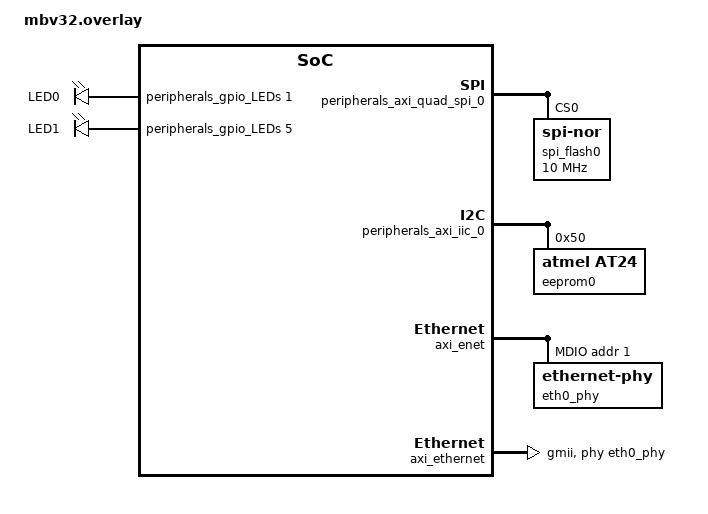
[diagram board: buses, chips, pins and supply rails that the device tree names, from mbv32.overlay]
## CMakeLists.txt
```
# Copyright (c) 2026 Marco Höfle, Avnet-Silica
#
# Permission is hereby granted, free of charge, to any person obtaining a copy
# of this software and associated documentation files to deal in the software
# without restriction, including without limitation the rights to use, copy,
# modify, merge, publish, distribute, sublicense, and/or sell copies.
#
# THE SOFTWARE IS PROVIDED "AS IS", WITHOUT WARRANTY OF ANY KIND.

cmake_minimum_required(VERSION 3.20.0)

find_package(Zephyr REQUIRED HINTS $ENV{ZEPHYR_BASE})
project(mbv_myapp_httpd)

file(GLOB APP_SOURCES CONFIGURE_DEPENDS
    ${CMAKE_CURRENT_SOURCE_DIR}/src/*.c
)

target_sources(app PRIVATE ${APP_SOURCES})


# Zephyr 4.3 HTTP resources are discovered through this linker section.
zephyr_linker_sources(SECTIONS sections-rom.ld)
zephyr_linker_section(NAME http_resource_desc_dashboard
                      KVMA RAM_REGION GROUP RODATA_REGION)

# Serve immutable gzip resources directly from ROM. No filesystem or CDN.
set(web_gen_root "${CMAKE_CURRENT_BINARY_DIR}/dashboard_generated")
set(web_gen_dir "${web_gen_root}/dashboard")
file(MAKE_DIRECTORY "${web_gen_dir}")
target_include_directories(app PRIVATE "${web_gen_root}")
set(web_generated_headers)
foreach(resource index.html app.css dsp.js app.js)
    set(generated_header "${web_gen_dir}/${resource}.gz.inc")
    generate_inc_file_for_target(app
        "${CMAKE_CURRENT_SOURCE_DIR}/web/${resource}"
        "${generated_header}"
        --gzip)
    list(APPEND web_generated_headers "${generated_header}")
endforeach()

# Explicit file dependencies also protect direct object builds and generators
# which do not order compilation solely through the app target dependencies.
set_property(SOURCE "${CMAKE_CURRENT_SOURCE_DIR}/src/webserver.c"
    APPEND PROPERTY OBJECT_DEPENDS "${web_generated_headers}")

# Zephyr 4.3 omits lib/posix when native_sim uses the host libc. Its HTTP
# server still needs eventfd descriptors from the ZEPHYR fd table, not glibc's.
# This branch is for host validation only; embedded targets already link it.
if(CONFIG_ARCH_POSIX AND CONFIG_NATIVE_LIBC AND CONFIG_EVENTFD)
    target_sources(app PRIVATE ${ZEPHYR_BASE}/lib/posix/eventfd/eventfd.c)
endif()
```

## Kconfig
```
# Copyright (c) 2026 Marco Höfle, Avnet-Silica
#
# Permission is hereby granted, free of charge, to any person obtaining a copy
# of this software and associated documentation files to deal in the software
# without restriction, including without limitation the rights to use, copy,
# modify, merge, publish, distribute, sublicense, and/or sell copies.
#
# THE SOFTWARE IS PROVIDED "AS IS", WITHOUT WARRANTY OF ANY KIND.

mainmenu "MicroBlaze V device dashboard"

source "Kconfig.zephyr"

menu "Device dashboard"

config APP_HTTP_PORT
    int "HTTP listening port"
    range 1 65535
    default 80

config APP_DEVICE_NAME
    string "Dashboard device name"
    default "MicroBlaze V Device Web Interface"

config APP_LIVE_FRAMES
    int "Maximum samples per channel in one live frame"
    range 16 4096
    default 2000

config APP_LIVE_RATE_HZ
    int "Maximum WebSocket updates per second"
    range 1 50
    default 20

config APP_DEMO_DATA
    bool "Generate demo waveforms until real acquisition is integrated"
    default y
    help
      Disable this before connecting a real acquisition thread. The demo and
      real acquisition must not publish concurrently. With this disabled the
      browser waits for the first live_data_publish() call.

config APP_DEMO_SAMPLE_RATE_HZ
    int "Nominal sample rate of the demo waveform"
    range 1 100000000
    default 20000

endmenu
```

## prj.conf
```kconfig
# Copyright (c) 2026 Marco Höfle, Avnet-Silica
#
# Permission is hereby granted, free of charge, to any person obtaining a copy
# of this software and associated documentation files to deal in the software
# without restriction, including without limitation the rights to use, copy,
# modify, merge, publish, distribute, sublicense, and/or sell copies.
#
# THE SOFTWARE IS PROVIDED "AS IS", WITHOUT WARRANTY OF ANY KIND.

#
# Console and application
#
CONFIG_PRINTK=y
CONFIG_CONSOLE=y
CONFIG_UART_CONSOLE=y
CONFIG_MAIN_STACK_SIZE=2048

#
# GPIO — LEDs and other digital I/O
#
CONFIG_GPIO=y

#
# Interactive shell over UART
#
CONFIG_SHELL=y
CONFIG_SHELL_BACKEND_SERIAL=y
CONFIG_SHELL_PROMPT_UART="SCU200>"

# Help, command history and tab completion
CONFIG_SHELL_HELP=y
CONFIG_SHELL_HISTORY=y
CONFIG_SHELL_TAB=y

# Kernel inspection commands
CONFIG_KERNEL_SHELL=y

# Shell stack and command/output buffers
CONFIG_SHELL_STACK_SIZE=2048
CONFIG_SHELL_CMD_BUFF_SIZE=256
CONFIG_SHELL_PRINTF_BUFF_SIZE=256

#
# SPI NOR flash
#
#CONFIG_SPI=y
#CONFIG_SPI_NOR=y

# Read flash capabilities from its SFDP tables at runtime
#CONFIG_SPI_NOR_SFDP_RUNTIME=y

#CONFIG_FLASH=y
#CONFIG_FLASH_MAP=y
#CONFIG_FLASH_SHELL=y

#
# I2C EEPROM — M24C64 through the AT24-compatible driver
#
CONFIG_I2C=y
CONFIG_EEPROM=y
CONFIG_EEPROM_AT24=y
CONFIG_EEPROM_SHELL=y

#
# Test-only random generator for a target without an entropy driver
#
CONFIG_TEST_RANDOM_GENERATOR=y
CONFIG_TIMER_RANDOM_GENERATOR=y

#
# Ethernet — Xilinx AXI Ethernet with AXI DMA
#
CONFIG_NETWORKING=y
CONFIG_NET_L2_ETHERNET=y
CONFIG_ETH_DRIVER=y

CONFIG_DMA=y
CONFIG_DMA_XILINX_AXI_DMA=y
CONFIG_ETH_XILINX_AXIENET=y

#
# AXI Ethernet RX requires a complete frame in each network buffer.
# Allow space for Ethernet headers and alignment.
#
CONFIG_NET_BUF_DATA_SIZE=2048


# MDIO accesses the external PHY's management registers.
# The overlay's "ethernet-phy" compatible selects the generic PHY.
CONFIG_MDIO=y

#
# IPv4 and ping
#
CONFIG_NET_IPV4=y
CONFIG_NET_ARP=y

#
# IPv4 networking — includes ICMPv4 for ping requests and replies
#
CONFIG_NET_IPV4=y
CONFIG_NET_ARP=y
CONFIG_NET_IPV6=n

# IPv4-only configuration
CONFIG_NET_IPV6=n

#
# TCP and socket API
#
CONFIG_NET_TCP=y
CONFIG_NET_SOCKETS=y

#
# Static IPv4 configuration
# Change these values to match your LAN.
# Choose an unused address outside the DHCP allocation range.
#
CONFIG_NET_DHCPV4=n
CONFIG_NET_CONFIG_SETTINGS=y
CONFIG_NET_CONFIG_AUTO_INIT=y
CONFIG_NET_CONFIG_NEED_IPV4=y

CONFIG_NET_CONFIG_MY_IPV4_ADDR="192.168.0.50"
CONFIG_NET_CONFIG_MY_IPV4_NETMASK="255.255.255.0"
CONFIG_NET_CONFIG_MY_IPV4_GW="192.168.0.1"

#
# Network shell — interface inspection and ping
#
CONFIG_NET_SHELL=y
CONFIG_MDIO_SHELL=y
#
# Logging
#
CONFIG_LOG=y
CONFIG_LOG_PRINTK=n

# Detailed flash logging retained for bring-up
#CONFIG_FLASH_LOG_LEVEL_DBG=y

# Enable when troubleshooting SPI transactions
# CONFIG_SPI_LOG_LEVEL_DBG=y
#
#
# Fatal-error diagnostics
#
CONFIG_ASSERT=y
CONFIG_ASSERT_VERBOSE=y
CONFIG_DEBUG=y

CONFIG_THREAD_NAME=y
CONFIG_THREAD_MONITOR=y
CONFIG_INIT_STACKS=y
CONFIG_STACK_SENTINEL=y
CONFIG_STACK_CANARIES=y

#
# More logging
#
CONFIG_LOG_MODE_IMMEDIATE=y
CONFIG_LOG_DEFAULT_LEVEL=1
#CONFIG_ETHERNET_LOG_LEVEL_DBG=y
CONFIG_NET_LOG=y

#
# Give interrupt and networking paths additional headroom
#
CONFIG_ISR_STACK_SIZE=8192
CONFIG_SYSTEM_WORKQUEUE_STACK_SIZE=4096
CONFIG_NET_RX_STACK_SIZE=4096
CONFIG_NET_TX_STACK_SIZE=4096
CONFIG_MAIN_STACK_SIZE=4096
CONFIG_SHELL_STACK_SIZE=4096
CONFIG_NET_STATISTICS=y

# MicroBlaze V LPDDR5 data cache support.
CONFIG_MBV_ZICBOM=y
CONFIG_DCACHE_LINE_SIZE=16
# AXI DMA is not cache coherent with the MicroBlaze V write-back cache.
# Flush CPU-written descriptors/TX buffers before DMA access and
# invalidate RX buffers/descriptors after DMA access.
CONFIG_DMA_XILINX_AXI_DMA_MANUAL_CACHE_COHERENCY=y
CONFIG_NET_BUF_ALIGNMENT=16
#
# Native HTTP server and WebSocket dashboard (Zephyr 4.3.0)
#
CONFIG_HTTP_SERVER=y
CONFIG_HTTP_SERVER_WEBSOCKET=y
CONFIG_HTTP_SERVER_STACK_SIZE=4096
CONFIG_HTTP_SERVER_MAX_CLIENTS=4
CONFIG_HTTP_SERVER_MAX_STREAMS=2
CONFIG_HTTP_SERVER_CLIENT_BUFFER_SIZE=1024
CONFIG_HTTP_SERVER_MAX_URL_LENGTH=128
CONFIG_WEBSOCKET_MAX_CONTEXTS=1
CONFIG_JSON_LIBRARY=y

# Socket/eventfd/poll headroom: page assets, API requests, one live client.
CONFIG_ZVFS_OPEN_MAX=20
CONFIG_ZVFS_POLL_MAX=12
CONFIG_NET_MAX_CONTEXTS=12
CONFIG_NET_MAX_CONN=12

# Keep the AXI Ethernet requirement: one entire frame per 2048-byte buffer.
# A 16 kB WebSocket frame spans multiple TCP/Ethernet packets.
CONFIG_NET_PKT_RX_COUNT=16
CONFIG_NET_PKT_TX_COUNT=16
CONFIG_NET_BUF_RX_COUNT=32
CONFIG_NET_BUF_TX_COUNT=32

# Plain HTTP still needs SHA-1 from Mbed TLS for the WebSocket handshake.
# There is no TLS service or certificate configuration in this application.
CONFIG_ENTROPY_GENERATOR=y

# Default live stream: four int16 channels, 2000 samples/channel, 20 updates/s.
CONFIG_APP_HTTP_PORT=80
CONFIG_APP_LIVE_FRAMES=2000
CONFIG_APP_LIVE_RATE_HZ=20
CONFIG_APP_DEMO_DATA=y
CONFIG_APP_DEMO_SAMPLE_RATE_HZ=20000
```

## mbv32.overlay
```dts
/******************************************************************************
 * Copyright (c) 2026 Marco Höfle, Avnet-Silica
 *
 * Permission is hereby granted, free of charge, to any person obtaining a copy
 * of this software and associated documentation files to deal in the software
 * without restriction, including without limitation the rights to use, copy,
 * modify, merge, publish, distribute, sublicense, and/or sell copies.
 *
 * THE SOFTWARE IS PROVIDED "AS IS", WITHOUT WARRANTY OF ANY KIND.
 ******************************************************************************/

#include <zephyr/dt-bindings/gpio/gpio.h>

/ {
    /* User LEDs connected to AXI GPIO. */
    leds {
        compatible = "gpio-leds";

        led0: led_0 {
            gpios = <&peripherals_gpio_LEDs 1 GPIO_ACTIVE_HIGH>;
            label = "LED0";
        };

        led1: led_1 {
            gpios = <&peripherals_gpio_LEDs 5 GPIO_ACTIVE_HIGH>;
            label = "LED1";
        };
    };

    aliases {
        led0 = &led0;
        led1 = &led1;

        /* Reference the existing MAC child in the board DTS. */
        ethernet0 = &axi_ethernet;
    };

    chosen {
        /* Use MicroBlaze V local BRAM as system RAM. */
        zephyr,sram =
            &lpddr5_lpddrmc_0_ddr_memory;
    };
};

/* External SPI NOR flash. */
&peripherals_axi_quad_spi_0 {
    status = "okay";

    spi_flash0: flash@0 {
        compatible = "jedec,spi-nor";
        status = "okay";

        /* SPI chip-select index. */
        reg = <0>;

        /* Conservative clock for initial bring-up. */
        spi-max-frequency = <10000000>;

        jedec-id = [20 bb 18];

        /* SPI NOR capacity is in bits: 128 Mbit = 16 MiB. */
        size = <0x08000000>;
    };
};

/* M24C64 I2C EEPROM. */
&peripherals_axi_iic_0 {
    status = "okay";

    eeprom0: eeprom@50 {
        compatible = "atmel,at24";
        status = "okay";

        /* 7-bit I2C address. */
        reg = <0x50>;

        /* EEPROM capacity and page size are in bytes. */
        size = <8192>;
        pagesize = <32>;

        /* Two-byte EEPROM memory addresses. */
        address-width = <16>;

        /* Write-cycle timeout in milliseconds. */
        timeout = <5>;
    };
};

/*
 * AXI Ethernet subsystem.
 *
 * The board DTS already defines this parent and its MAC child.
 * Keep the existing register range and add the MDIO bus and PHY.
 */
&axi_enet {
    status = "okay";

    eth0_mdio: mdio {
        compatible = "xlnx,axi-ethernet-1.00.a-mdio";
        status = "okay";

        #address-cells = <1>;
        #size-cells = <0>;

        /*
         * Input clock used by the Zephyr 4.x AXIENET MDIO driver
         * to calculate the MDC divider.
         *
         * Confirm the MAC AXI-Lite clock is actually 200 MHz.
         */
        clock-frequency = <200000000>;

        eth0_phy: ethernet-phy@1 {
            /* Generic PHY driver; relies on correct hardware straps. */
            compatible = "ethernet-phy";
            status = "okay";

            /* Must match the PHY's strapped MDIO address. */
            reg = <1>;
        };
    };
};

/* Configure the existing AXI Ethernet MAC. */
&axi_ethernet {
    status = "okay";

    /* Associate the MAC with the DP83867 PHY. */
    phy-handle = <&eth0_phy>;
    phy-connection-type = "gmii";

    /* DMA controller connected to the MAC's AXI streams. */
    axistream-connected =
            <&peripherals_eth0_axi_ethernet_0_dma>;

    /*
     * Locally administered unicast MAC address.
     * Assign a unique address to each board on the network.
     */
    local-mac-address = [02 00 00 00 00 01];

    /* Hardware checksum offload is disabled in this design. */
    xlnx,rxcsum = <0>;
    xlnx,txcsum = <0>;

    /*
     * Omit optional MAC interrupts for initial bring-up.
     * MDIO uses polling; packet transfers use the DMA interrupts.
     */
    /delete-property/ interrupts;
    /delete-property/ interrupt-names;
};

/*
 * AXI DMA used by Ethernet.
 * Retain the board's register range and TX/RX interrupt definitions.
 */
&peripherals_eth0_axi_ethernet_0_dma {
    status = "okay";

    /* MM2S transmits packets; S2MM receives packets. */
    dma-channels = <2>;

    /*
     * Keep MAC -> DMA references only.
     * Reverse references can create a devicetree dependency cycle.
     */
    /delete-property/ axistream-connected;
    /delete-property/ axistream-control-connected;
};
```

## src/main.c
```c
/******************************************************************************
 * Copyright (c) 2026 Marco Höfle, Avnet-Silica
 *
 * Permission is hereby granted, free of charge, to any person obtaining a copy
 * of this software and associated documentation files to deal in the software
 * without restriction, including without limitation the rights to use, copy,
 * modify, merge, publish, distribute, sublicense, and/or sell copies.
 *
 * THE SOFTWARE IS PROVIDED "AS IS", WITHOUT WARRANTY OF ANY KIND.
 ******************************************************************************/

#include <zephyr/kernel.h>
#include <zephyr/sys/printk.h>
#include <zephyr/shell/shell.h>

#include "led.h"
#include "live_data.h"
#include "webserver.h"

/* Thread stack */
#define STACK_SIZE 512
#define PRIORITY 5

K_THREAD_STACK_DEFINE(led_stack, STACK_SIZE);

struct k_thread led_thread_data;



int main(void)
{
    printk("Hello from my own Zephyr app on MicroBlaze V!\n");
    printk("Built: " __DATE__ " "__TIME__ "\n");

    init_leds();

    /* Create LED thread */
    k_thread_create(&led_thread_data, led_stack,
                    STACK_SIZE,
                    led_thread,
                    NULL, NULL, NULL,
                    PRIORITY, 0, K_NO_WAIT);

    k_thread_name_set(&led_thread_data, "led");

    demo_data_start();

    int ret = webserver_start();
    if (ret < 0) {
        printk("HTTP server start failed: %d\n", ret);
        return ret;
    }
    printk("Dashboard HTTP port: %d\n", CONFIG_APP_HTTP_PORT);
#if defined(CONFIG_NET_CONFIG_MY_IPV4_ADDR)
    printk("Open http://%s:%d/\n", CONFIG_NET_CONFIG_MY_IPV4_ADDR,
           CONFIG_APP_HTTP_PORT);
#endif

    return 0;
}
```

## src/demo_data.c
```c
/******************************************************************************
 * Copyright (c) 2026 Marco Höfle, Avnet-Silica
 *
 * Permission is hereby granted, free of charge, to any person obtaining a copy
 * of this software and associated documentation files to deal in the software
 * without restriction, including without limitation the rights to use, copy,
 * modify, merge, publish, distribute, sublicense, and/or sell copies.
 *
 * THE SOFTWARE IS PROVIDED "AS IS", WITHOUT WARRANTY OF ANY KIND.
 ******************************************************************************/

/* SPDX-License-Identifier: MIT */
#include <zephyr/kernel.h>
#include "live_data.h"

#if defined(CONFIG_APP_DEMO_DATA)
/* Integer lookup avoids floating-point and libm on MicroBlaze V. */
static const int16_t sine[256] = {
    0, 589, 1178, 1766, 2352, 2938, 3522, 4103, 4682, 5258, 5832, 6401, 6967, 7528, 8085, 8637,
    9184, 9726, 10261, 10791, 11314, 11830, 12338, 12840, 13334, 13819, 14297, 14766, 15225, 15676, 16117, 16549,
    16971, 17382, 17783, 18173, 18552, 18920, 19277, 19622, 19955, 20276, 20585, 20882, 21166, 21437, 21696, 21941,
    22173, 22392, 22597, 22789, 22967, 23131, 23281, 23417, 23539, 23647, 23740, 23820, 23884, 23935, 23971, 23993,
    24000, 23993, 23971, 23935, 23884, 23820, 23740, 23647, 23539, 23417, 23281, 23131, 22967, 22789, 22597, 22392,
    22173, 21941, 21696, 21437, 21166, 20882, 20585, 20276, 19955, 19622, 19277, 18920, 18552, 18173, 17783, 17382,
    16971, 16549, 16117, 15676, 15225, 14766, 14297, 13819, 13334, 12840, 12338, 11830, 11314, 10791, 10261, 9726,
    9184, 8637, 8085, 7528, 6967, 6401, 5832, 5258, 4682, 4103, 3522, 2938, 2352, 1766, 1178, 589,
    0, -589, -1178, -1766, -2352, -2938, -3522, -4103, -4682, -5258, -5832, -6401, -6967, -7528, -8085, -8637,
    -9184, -9726, -10261, -10791, -11314, -11830, -12338, -12840, -13334, -13819, -14297, -14766, -15225, -15676, -16117, -16549,
    -16971, -17382, -17783, -18173, -18552, -18920, -19277, -19622, -19955, -20276, -20585, -20882, -21166, -21437, -21696, -21941,
    -22173, -22392, -22597, -22789, -22967, -23131, -23281, -23417, -23539, -23647, -23740, -23820, -23884, -23935, -23971, -23993,
    -24000, -23993, -23971, -23935, -23884, -23820, -23740, -23647, -23539, -23417, -23281, -23131, -22967, -22789, -22597, -22392,
    -22173, -21941, -21696, -21437, -21166, -20882, -20585, -20276, -19955, -19622, -19277, -18920, -18552, -18173, -17783, -17382,
    -16971, -16549, -16117, -15676, -15225, -14766, -14297, -13819, -13334, -12840, -12338, -11830, -11314, -10791, -10261, -9726,
    -9184, -8637, -8085, -7528, -6967, -6401, -5832, -5258, -4682, -4103, -3522, -2938, -2352, -1766, -1178, -589,
};
static int16_t samples[CONFIG_APP_LIVE_FRAMES * LIVE_CHANNELS];
static struct k_thread demo_thread;
K_THREAD_STACK_DEFINE(demo_stack, 2048);

static void demo_run(void *p1, void *p2, void *p3)
{
    ARG_UNUSED(p1); ARG_UNUSED(p2); ARG_UNUSED(p3);
    uint32_t phase = 0;
    while (true) {
        int64_t start = k_uptime_get();
        for (size_t i = 0; i < CONFIG_APP_LIVE_FRAMES; i++) {
            uint32_t p = (i * 1024U / CONFIG_APP_LIVE_FRAMES + phase) & 255U;
            samples[i * LIVE_CHANNELS] = sine[p];
            samples[i * LIVE_CHANNELS + 1] = sine[(p + 64U) & 255U];
            samples[i * LIVE_CHANNELS + 2] = sine[(p * 2U) & 255U];
            samples[i * LIVE_CHANNELS + 3] = p < 128U ? 20000 : -20000;
        }
        (void)live_data_publish(samples, CONFIG_APP_LIVE_FRAMES,
                               CONFIG_APP_DEMO_SAMPLE_RATE_HZ, LIVE_SOURCE_DEMO);
        phase = (phase + 1U) & 255U;
        int64_t delay = 1000 / CONFIG_APP_LIVE_RATE_HZ - (k_uptime_get() - start);
        k_sleep(K_MSEC(MAX(delay, 1)));
    }
}
#endif

void demo_data_start(void)
{
#if defined(CONFIG_APP_DEMO_DATA)
    k_thread_create(&demo_thread, demo_stack, K_THREAD_STACK_SIZEOF(demo_stack),
                    demo_run, NULL, NULL, NULL, 8, 0, K_NO_WAIT);
    k_thread_name_set(&demo_thread, "live_demo");
#endif
}
```

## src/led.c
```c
/******************************************************************************
 * Copyright (c) 2026 Marco Höfle, Avnet-Silica
 *
 * Permission is hereby granted, free of charge, to any person obtaining a copy
 * of this software and associated documentation files to deal in the software
 * without restriction, including without limitation the rights to use, copy,
 * modify, merge, publish, distribute, sublicense, and/or sell copies.
 *
 * THE SOFTWARE IS PROVIDED "AS IS", WITHOUT WARRANTY OF ANY KIND.
 ******************************************************************************/

#include <zephyr/kernel.h>
#include <zephyr/sys/printk.h>
#include <zephyr/drivers/gpio.h>
#include <zephyr/sys/atomic.h>
#include <errno.h>
#include "led.h"

/* Get LED from devicetree */
#define LED0_NODE DT_ALIAS(led0)
#define LED1_NODE DT_ALIAS(led1)


#if !DT_NODE_HAS_STATUS(LED0_NODE, okay)
#error "No LED0 alias found in device tree"
#endif

#if !DT_NODE_HAS_STATUS(LED1_NODE, okay)
#error "No LED1 alias found in device tree"
#endif

static const struct gpio_dt_spec led0 = GPIO_DT_SPEC_GET(LED0_NODE, gpios);
static const struct gpio_dt_spec led1 = GPIO_DT_SPEC_GET(LED1_NODE, gpios);
static atomic_t led0_ready;
static atomic_t led1_ready;
static atomic_t led1_state;
K_MUTEX_DEFINE(led1_lock);

/* LED thread function */
void led_thread(void *arg1, void *arg2, void *arg3)
{


    while (1) {
        if (atomic_get(&led0_ready)) {
            gpio_pin_toggle_dt(&led0);
        }
        k_sleep(K_MSEC(50));
    }
}


void led1_on(void)
{
    (void)led1_set(true);
}

void led1_off(void)
{
    (void)led1_set(false);
}

int led1_set(bool enabled)
{
    if (!atomic_get(&led1_ready)) {
        return -ENODEV;
    }
    k_mutex_lock(&led1_lock, K_FOREVER);
    int ret = gpio_pin_set_dt(&led1, enabled);
    if (ret == 0) {
        atomic_set(&led1_state, enabled);
    }
    k_mutex_unlock(&led1_lock);
    return ret;
}

bool led1_is_on(void) { return atomic_get(&led1_state) != 0; }
bool led1_is_ready(void) { return atomic_get(&led1_ready) != 0; }

void init_leds(void)
{
    if (gpio_is_ready_dt(&led0) &&
        gpio_pin_configure_dt(&led0, GPIO_OUTPUT_INACTIVE) == 0) {
        atomic_set(&led0_ready, 1);
    } else {
        printk("LED0 device not ready\n");
    }
    if (gpio_is_ready_dt(&led1) &&
        gpio_pin_configure_dt(&led1, GPIO_OUTPUT_INACTIVE) == 0) {
        atomic_set(&led1_ready, 1);
    } else {
        printk("LED1 device not ready\n");
    }
}
```

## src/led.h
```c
/******************************************************************************
 * Copyright (c) 2026 Marco Höfle, Avnet-Silica
 *
 * Permission is hereby granted, free of charge, to any person obtaining a copy
 * of this software and associated documentation files to deal in the software
 * without restriction, including without limitation the rights to use, copy,
 * modify, merge, publish, distribute, sublicense, and/or sell copies.
 *
 * THE SOFTWARE IS PROVIDED "AS IS", WITHOUT WARRANTY OF ANY KIND.
 ******************************************************************************/

#ifndef LED_H
#define LED_H

#include <stdbool.h>

void init_leds(void);
void led_thread(void *arg1, void *arg2, void *arg3);
void led1_off(void);
void led1_on(void);
int led1_set(bool enabled);
bool led1_is_on(void);
bool led1_is_ready(void);

#endif
```

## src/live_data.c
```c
/******************************************************************************
 * Copyright (c) 2026 Marco Höfle, Avnet-Silica
 *
 * Permission is hereby granted, free of charge, to any person obtaining a copy
 * of this software and associated documentation files to deal in the software
 * without restriction, including without limitation the rights to use, copy,
 * modify, merge, publish, distribute, sublicense, and/or sell copies.
 *
 * THE SOFTWARE IS PROVIDED "AS IS", WITHOUT WARRANTY OF ANY KIND.
 ******************************************************************************/

/* SPDX-License-Identifier: MIT */
#include <errno.h>
#include <string.h>
#include <zephyr/kernel.h>
#include <zephyr/sys/atomic.h>
#include <zephyr/sys/byteorder.h>
#include "live_data.h"

K_MUTEX_DEFINE(frame_lock);
static uint8_t latest[LIVE_MAX_MESSAGE_SIZE];
static size_t latest_length;
static struct live_stats latest_stats;
static atomic_t dropped;

int live_data_publish(const int16_t *samples, size_t nframes,
                      uint32_t sample_rate_hz, enum live_source source)
{
    if (samples == NULL || nframes < 2 || nframes > CONFIG_APP_LIVE_FRAMES ||
        (source != LIVE_SOURCE_DEMO && source != LIVE_SOURCE_SENSOR)) {
        return -EINVAL;
    }
    if (k_mutex_lock(&frame_lock, K_NO_WAIT) != 0) {
        atomic_inc(&dropped);
        return -EAGAIN;
    }

    latest_stats.sequence++;
    latest_stats.frames = nframes;
    latest_stats.sample_rate_hz = sample_rate_hz;
    latest_stats.published_at_ms = k_uptime_get();
    latest_stats.source = source;

    /* Explicit little-endian protocol; no C structure padding on the wire. */
    memcpy(latest, "ZLV1", 4);
    sys_put_le16(LIVE_HEADER_SIZE, latest + 4);
    sys_put_le16(LIVE_CHANNELS, latest + 6);
    sys_put_le32(nframes, latest + 8);
    sys_put_le32(sample_rate_hz, latest + 12);
    sys_put_le32(latest_stats.sequence, latest + 16);
    sys_put_le32(source == LIVE_SOURCE_DEMO ? 1U : 0U, latest + 20);
    sys_put_le64(latest_stats.published_at_ms, latest + 24);
    for (size_t i = 0; i < nframes * LIVE_CHANNELS; i++) {
        sys_put_le16((uint16_t)samples[i], latest + LIVE_HEADER_SIZE + i * 2);
    }
    latest_length = LIVE_HEADER_SIZE + nframes * LIVE_CHANNELS * 2;
    k_mutex_unlock(&frame_lock);
    return 0;
}

int live_data_copy(uint8_t *dst, size_t capacity, size_t *length, uint32_t *sequence)
{
    if (dst == NULL || length == NULL || sequence == NULL) {
        return -EINVAL;
    }
    if (k_mutex_lock(&frame_lock, K_MSEC(5)) != 0) {
        return -EAGAIN;
    }
    int ret = -ENODATA;
    if (latest_length > capacity) {
        ret = -ENOSPC;
    } else if (latest_length != 0) {
        memcpy(dst, latest, latest_length);
        *length = latest_length;
        *sequence = latest_stats.sequence;
        ret = 0;
    }
    k_mutex_unlock(&frame_lock);
    return ret;
}

void live_data_get_stats(struct live_stats *stats)
{
    k_mutex_lock(&frame_lock, K_FOREVER);
    *stats = latest_stats;
    k_mutex_unlock(&frame_lock);
    stats->dropped = (uint32_t)atomic_get(&dropped);
}
```

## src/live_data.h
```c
/******************************************************************************
 * Copyright (c) 2026 Marco Höfle, Avnet-Silica
 *
 * Permission is hereby granted, free of charge, to any person obtaining a copy
 * of this software and associated documentation files to deal in the software
 * without restriction, including without limitation the rights to use, copy,
 * modify, merge, publish, distribute, sublicense, and/or sell copies.
 *
 * THE SOFTWARE IS PROVIDED "AS IS", WITHOUT WARRANTY OF ANY KIND.
 ******************************************************************************/

/* SPDX-License-Identifier: MIT */
#ifndef LIVE_DATA_H
#define LIVE_DATA_H

#include <stdbool.h>
#include <stddef.h>
#include <stdint.h>

#define LIVE_CHANNELS 4U
#define LIVE_HEADER_SIZE 32U
#define LIVE_MAX_MESSAGE_SIZE (LIVE_HEADER_SIZE + CONFIG_APP_LIVE_FRAMES * LIVE_CHANNELS * 2U)

enum live_source {
    LIVE_SOURCE_NONE = 0,
    LIVE_SOURCE_DEMO = 1,
    LIVE_SOURCE_SENSOR = 2,
};

struct live_stats {
    uint32_t sequence;
    uint32_t frames;
    uint32_t sample_rate_hz;
    uint32_t dropped;
    uint64_t published_at_ms;
    enum live_source source;
};

/*
 * Publish interleaved signed samples: CH0, CH1, CH2, CH3, CH0, ... .
 * nframes is the sample count PER CHANNEL, not the int16_t element count.
 * Called from ONE acquisition thread, never an ISR (uses a mutex). It copies
 * the data before returning; the caller may then reuse its buffer.
 * Returns 0, -EINVAL, or -EAGAIN if the snapshot is busy. It never waits for
 * a browser/socket. sample_rate_hz=0 means unknown. Source must be explicit.
 */
int live_data_publish(const int16_t *interleaved, size_t nframes,
                      uint32_t sample_rate_hz, enum live_source source);

/* Sender takes a stable copy; slow clients never retain the producer's lock. */
int live_data_copy(uint8_t *dst, size_t capacity, size_t *length, uint32_t *sequence);
void live_data_get_stats(struct live_stats *stats);
void demo_data_start(void);

#endif
```

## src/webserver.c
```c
/******************************************************************************
 * Copyright (c) 2026 Marco Höfle, Avnet-Silica
 *
 * Permission is hereby granted, free of charge, to any person obtaining a copy
 * of this software and associated documentation files to deal in the software
 * without restriction, including without limitation the rights to use, copy,
 * modify, merge, publish, distribute, sublicense, and/or sell copies.
 *
 * THE SOFTWARE IS PROVIDED "AS IS", WITHOUT WARRANTY OF ANY KIND.
 ******************************************************************************/

/* SPDX-License-Identifier: MIT */
#include <errno.h>
#include <stdio.h>
#include <string.h>
#include <zephyr/kernel.h>
#include <zephyr/data/json.h>
#include <zephyr/net/http/server.h>
#include <zephyr/net/http/service.h>
#include <zephyr/net/socket.h>
#include <zephyr/net/websocket.h>
#include <zephyr/sys/atomic.h>
#include <zephyr/sys/fdtable.h>
#include <zephyr/version.h>
#include "led.h"
#include "live_data.h"
#include "webserver.h"

static atomic_t stream_enabled = ATOMIC_INIT(1);
static atomic_t ws_active;
static atomic_t sent_frames;
static atomic_t send_errors;
K_MSGQ_DEFINE(ws_queue, sizeof(int), 1, sizeof(int));

/* These buffers must outlive their HTTP transactions / WebSocket session. */
static uint8_t ws_parse_buffer[256];
static uint8_t tx_frame[LIVE_MAX_MESSAGE_SIZE];
static const uint8_t index_html[] = {
#include <dashboard/index.html.gz.inc>
};
static const uint8_t app_css[] = {
#include <dashboard/app.css.gz.inc>
};
static const uint8_t dsp_js[] = {
#include <dashboard/dsp.js.gz.inc>
};
static const uint8_t app_js[] = {
#include <dashboard/app.js.gz.inc>
};

#define STATIC_RESOURCE(name, bytes, mime) \
    static struct http_resource_detail_static name = { \
        .common = { .type = HTTP_RESOURCE_TYPE_STATIC, \
            .bitmask_of_supported_http_methods = BIT(HTTP_GET), \
            .content_encoding = "gzip", .content_type = mime }, \
        .static_data = bytes, .static_data_len = sizeof(bytes), \
    }
STATIC_RESOURCE(index_detail, index_html, "text/html; charset=utf-8");
STATIC_RESOURCE(css_detail, app_css, "text/css; charset=utf-8");
STATIC_RESOURCE(js_detail, app_js, "text/javascript; charset=utf-8");
STATIC_RESOURCE(dsp_detail, dsp_js, "text/javascript; charset=utf-8");

struct dashboard_status {
    const char *device;
    const char *board;
    const char *zephyr;
    const char *built;
    const char *source;
    uint64_t uptime_ms;
    uint64_t frame_age_ms;
    uint32_t sequence;
    uint32_t frames;
    uint32_t channels;
    uint32_t max_frames;
    uint32_t sample_rate_hz;
    uint32_t update_rate_hz;
    uint32_t dropped;
    uint32_t sent;
    uint32_t send_errors;
    uint32_t ws_clients;
    bool stream_enabled;
    bool led1;
    bool led1_ready;
    bool has_frame;
};
#define STATUS_FIELD(field, tok) JSON_OBJ_DESCR_PRIM(struct dashboard_status, field, tok)
static const struct json_obj_descr status_descr[] = {
    STATUS_FIELD(device, JSON_TOK_STRING), STATUS_FIELD(board, JSON_TOK_STRING),
    STATUS_FIELD(zephyr, JSON_TOK_STRING), STATUS_FIELD(built, JSON_TOK_STRING),
    STATUS_FIELD(source, JSON_TOK_STRING), STATUS_FIELD(uptime_ms, JSON_TOK_UINT64),
    STATUS_FIELD(frame_age_ms, JSON_TOK_UINT64), STATUS_FIELD(sequence, JSON_TOK_UINT),
    STATUS_FIELD(frames, JSON_TOK_UINT), STATUS_FIELD(channels, JSON_TOK_UINT),
    STATUS_FIELD(max_frames, JSON_TOK_UINT), STATUS_FIELD(sample_rate_hz, JSON_TOK_UINT),
    STATUS_FIELD(update_rate_hz, JSON_TOK_UINT), STATUS_FIELD(dropped, JSON_TOK_UINT),
    STATUS_FIELD(sent, JSON_TOK_UINT), STATUS_FIELD(send_errors, JSON_TOK_UINT),
    STATUS_FIELD(ws_clients, JSON_TOK_UINT), STATUS_FIELD(stream_enabled, JSON_TOK_TRUE),
    STATUS_FIELD(led1, JSON_TOK_TRUE), STATUS_FIELD(led1_ready, JSON_TOK_TRUE),
    STATUS_FIELD(has_frame, JSON_TOK_TRUE),
};
#undef STATUS_FIELD

static const struct http_header no_cache[] = { { "Cache-Control", "no-store" } };

static void reply(struct http_response_ctx *response, enum http_status status,
                  const char *body)
{
    response->status = status;
    response->headers = no_cache;
    response->header_count = ARRAY_SIZE(no_cache);
    response->body = (const uint8_t *)body;
    response->body_len = strlen(body);
    response->final_chunk = true;
}

/* Zephyr 4.3.0 callback API, deliberately not the later transaction-status API. */
static int status_handler(struct http_client_ctx *client, enum http_data_status status,
                          const struct http_request_ctx *request,
                          struct http_response_ctx *response, void *user_data)
{
    ARG_UNUSED(client); ARG_UNUSED(request); ARG_UNUSED(user_data);
    static char body[1024];
    if (status != HTTP_SERVER_DATA_FINAL) {
        return 0;
    }
    struct live_stats live;
    live_data_get_stats(&live);
    struct dashboard_status s = {
        .device = CONFIG_APP_DEVICE_NAME,
        .board = CONFIG_BOARD_TARGET,
        .zephyr = KERNEL_VERSION_STRING,
        .built = __DATE__ " " __TIME__,
        .source = live.source == LIVE_SOURCE_DEMO ? "demo" :
                  live.source == LIVE_SOURCE_SENSOR ? "sensor" : "none",
        .uptime_ms = (uint64_t)k_uptime_get(),
        .frame_age_ms = live.source != LIVE_SOURCE_NONE ?
                        (uint64_t)k_uptime_get() - live.published_at_ms : 0,
        .sequence = live.sequence, .frames = live.frames,
        .channels = LIVE_CHANNELS, .max_frames = CONFIG_APP_LIVE_FRAMES,
        .sample_rate_hz = live.sample_rate_hz,
        .update_rate_hz = CONFIG_APP_LIVE_RATE_HZ,
        .dropped = live.dropped,
        .sent = (uint32_t)atomic_get(&sent_frames),
        .send_errors = (uint32_t)atomic_get(&send_errors),
        .ws_clients = (uint32_t)atomic_get(&ws_active),
        .stream_enabled = atomic_get(&stream_enabled) != 0,
        .led1 = led1_is_on(), .led1_ready = led1_is_ready(),
        .has_frame = live.source != LIVE_SOURCE_NONE,
    };
    int ret = json_obj_encode_buf(status_descr, ARRAY_SIZE(status_descr),
                                  &s, body, sizeof(body));
    if (ret < 0) {
        reply(response, HTTP_500_INTERNAL_SERVER_ERROR, "{\"error\":\"status too large\"}");
    } else {
        reply(response, HTTP_200_OK, body);
    }
    return 0;
}

struct enabled_command { bool enabled; };
static const struct json_obj_descr enabled_descr[] = {
    JSON_OBJ_DESCR_PRIM(struct enabled_command, enabled, JSON_TOK_TRUE),
};
struct control_context {
    char body[128];
    size_t used;
    bool overflow;
    bool is_led;
};
static struct control_context led_context = { .is_led = true };
static struct control_context stream_context;

static int control_handler(struct http_client_ctx *client, enum http_data_status status,
                           const struct http_request_ctx *request,
                           struct http_response_ctx *response, void *user_data)
{
    ARG_UNUSED(client);
    struct control_context *ctx = user_data;
    if (status == HTTP_SERVER_DATA_ABORTED) {
        ctx->used = 0;
        ctx->overflow = false;
        return 0;
    }
    /* Request bodies may be split across TCP packets / HTTP callbacks. */
    if (request->data_len > sizeof(ctx->body) - 1 - ctx->used) {
        ctx->overflow = true;
    } else if (!ctx->overflow && request->data_len != 0) {
        memcpy(ctx->body + ctx->used, request->data, request->data_len);
        ctx->used += request->data_len;
    }
    if (status != HTTP_SERVER_DATA_FINAL) {
        return 0;
    }
    ctx->body[ctx->used] = '\0';
    struct enabled_command command = {0};
    int parsed = ctx->overflow ? -E2BIG :
                 json_obj_parse(ctx->body, ctx->used, enabled_descr,
                                ARRAY_SIZE(enabled_descr), &command);
    if (ctx->overflow) {
        reply(response, HTTP_413_PAYLOAD_TOO_LARGE, "{\"error\":\"body exceeds 127 bytes\"}");
    } else if (parsed != BIT(0)) {
        reply(response, HTTP_400_BAD_REQUEST, "{\"error\":\"expected enabled boolean\"}");
    } else if (ctx->is_led && led1_set(command.enabled) < 0) {
        reply(response, HTTP_503_SERVICE_UNAVAILABLE, "{\"error\":\"LED1 GPIO unavailable\"}");
    } else {
        if (!ctx->is_led) {
            atomic_set(&stream_enabled, command.enabled);
        }
        reply(response, HTTP_200_OK, "{\"ok\":true}");
    }
    ctx->used = 0;
    ctx->overflow = false;
    return 0;
}

static int ws_setup(int socket, struct http_request_ctx *request, void *user_data)
{
    ARG_UNUSED(request); ARG_UNUSED(user_data);
    if (!atomic_cas(&ws_active, 0, 1)) {
        return -EBUSY;
    }
    /* Forwarded by the WebSocket fd to the underlying TCP socket. Without
     * O_NONBLOCK, Zephyr 4.3's sendmsg can outwait websocket_send_msg's timeout.
     */
    int flags = zsock_fcntl(socket, ZVFS_F_GETFL, 0);
    if (flags < 0 || zsock_fcntl(socket, ZVFS_F_SETFL, flags | ZVFS_O_NONBLOCK) < 0 ||
        k_msgq_put(&ws_queue, &socket, K_NO_WAIT) != 0) {
        atomic_clear(&ws_active);
        return -EIO;  /* HTTP server closes a rejected upgraded socket. */
    }
    return 0;
}

static bool ws_send(int socket, const uint8_t *data, size_t size,
                    enum websocket_opcode opcode)
{
    return websocket_send_msg(socket, data, size, opcode, false, true, 500) >= 0;
}

static bool ws_close_code(int socket, uint16_t code)
{
    uint8_t payload[2] = { code >> 8, code & 0xff };
    (void)ws_send(socket, payload, sizeof(payload), WEBSOCKET_OPCODE_CLOSE);
    return false;
}

struct rx_control { uint8_t bytes[125]; size_t used; };

static bool ws_receive(int socket, struct rx_control *rx)
{
    /* One byte at a time makes 4.3's parser always return valid type/remaining
     * metadata, even when the peer splits a control frame across TCP packets.
     * A short positive poll timeout also supports native_sim socket offload.
     * The total work per tick is bounded. Large client data is not accepted.
     */
    for (int i = 0; i < 128; i++) {
        uint8_t byte;
        uint32_t type = 0;
        uint64_t remaining = 0;
        int ret = websocket_recv_msg(socket, &byte, 1, &type, &remaining, 1);
        if (ret == -EAGAIN) {
            return true;
        }
        if (ret < 0 || (type & WEBSOCKET_FLAG_CLOSE)) {
            return false;
        }
        if (rx->used + ret + remaining > sizeof(rx->bytes)) {
            return ws_close_code(socket, 1009);
        }
        if (ret > 0) {
            rx->bytes[rx->used++] = byte;
        }
        if (remaining != 0) {
            continue;
        }
        bool ok = true;
        if (!(type & WEBSOCKET_FLAG_FINAL)) {
            return ws_close_code(socket, 1003);
        }
        if (type & WEBSOCKET_FLAG_PING) {
            ok = ws_send(socket, rx->bytes, rx->used, WEBSOCKET_OPCODE_PONG);
        } else if ((type & WEBSOCKET_FLAG_TEXT) && rx->used == 4 &&
                   memcmp(rx->bytes, "ping", 4) == 0) {
            ok = ws_send(socket, (const uint8_t *)"pong", 4, WEBSOCKET_OPCODE_DATA_TEXT);
        } else if (!(type & WEBSOCKET_FLAG_PONG)) {
            return ws_close_code(socket, 1003);
        }
        rx->used = 0;
        if (!ok) {
            return false;
        }
    }
    return true;
}

static void ws_worker(void *p1, void *p2, void *p3)
{
    ARG_UNUSED(p1); ARG_UNUSED(p2); ARG_UNUSED(p3);
    while (true) {
        int socket;
        k_msgq_get(&ws_queue, &socket, K_FOREVER);
        struct rx_control rx = {0};
        uint32_t last_sequence = 0;
        bool first = true;
        bool healthy = true;
        while (healthy) {
            int64_t start = k_uptime_get();
            healthy = ws_receive(socket, &rx);
            if (!healthy) {
                break;
            }
            if (atomic_get(&stream_enabled)) {
                size_t length;
                uint32_t sequence;
                int ret = live_data_copy(tx_frame, sizeof(tx_frame), &length, &sequence);
                if (ret == 0 && (first || sequence != last_sequence)) {
                    healthy = ws_send(socket, tx_frame, length, WEBSOCKET_OPCODE_DATA_BINARY);
                    if (healthy) {
                        atomic_inc(&sent_frames);
                        last_sequence = sequence;
                        first = false;
                    } else {
                        atomic_inc(&send_errors);
                    }
                }
            }
            int64_t delay = 1000 / CONFIG_APP_LIVE_RATE_HZ - (k_uptime_get() - start);
            k_sleep(K_MSEC(MAX(delay, 1)));
        }
        (void)websocket_unregister(socket);
        atomic_clear(&ws_active);
    }
}
K_THREAD_DEFINE(ws_thread, 4096, ws_worker, NULL, NULL, NULL, 9, 0, 0);

static struct http_resource_detail_dynamic status_detail = {
    .common = { .type = HTTP_RESOURCE_TYPE_DYNAMIC,
        .bitmask_of_supported_http_methods = BIT(HTTP_GET),
        .content_type = "application/json" },
    .cb = status_handler,
};
#define CONTROL_RESOURCE(name, ctx) \
    static struct http_resource_detail_dynamic name = { \
        .common = { .type = HTTP_RESOURCE_TYPE_DYNAMIC, \
            .bitmask_of_supported_http_methods = BIT(HTTP_POST), \
            .content_type = "application/json" }, \
        .cb = control_handler, .user_data = ctx, \
    }
CONTROL_RESOURCE(led_detail, &led_context);
CONTROL_RESOURCE(stream_detail, &stream_context);
static struct http_resource_detail_websocket live_detail = {
    .common = { .type = HTTP_RESOURCE_TYPE_WEBSOCKET,
        .bitmask_of_supported_http_methods = BIT(HTTP_GET) },
    .cb = ws_setup, .data_buffer = ws_parse_buffer,
    .data_buffer_len = sizeof(ws_parse_buffer),
};
static uint16_t http_port = CONFIG_APP_HTTP_PORT;
HTTP_SERVICE_DEFINE(dashboard, "0.0.0.0", &http_port,
                    CONFIG_HTTP_SERVER_MAX_CLIENTS, 4, NULL, NULL, NULL);
HTTP_RESOURCE_DEFINE(index_resource, dashboard, "/", &index_detail);
HTTP_RESOURCE_DEFINE(css_resource, dashboard, "/app.css", &css_detail);
HTTP_RESOURCE_DEFINE(js_resource, dashboard, "/app.js", &js_detail);
HTTP_RESOURCE_DEFINE(dsp_resource, dashboard, "/dsp.js", &dsp_detail);
HTTP_RESOURCE_DEFINE(status_resource, dashboard, "/api/status", &status_detail);
HTTP_RESOURCE_DEFINE(led_resource, dashboard, "/api/led", &led_detail);
HTTP_RESOURCE_DEFINE(stream_resource, dashboard, "/api/stream", &stream_detail);
HTTP_RESOURCE_DEFINE(live_resource, dashboard, "/ws/live", &live_detail);

int webserver_start(void)
{
    return http_server_start();
}
```

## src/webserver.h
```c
/******************************************************************************
 * Copyright (c) 2026 Marco Höfle, Avnet-Silica
 *
 * Permission is hereby granted, free of charge, to any person obtaining a copy
 * of this software and associated documentation files to deal in the software
 * without restriction, including without limitation the rights to use, copy,
 * modify, merge, publish, distribute, sublicense, and/or sell copies.
 *
 * THE SOFTWARE IS PROVIDED "AS IS", WITHOUT WARRANTY OF ANY KIND.
 ******************************************************************************/

/* SPDX-License-Identifier: MIT */
#ifndef WEBSERVER_H
#define WEBSERVER_H
int webserver_start(void);
#endif
```
